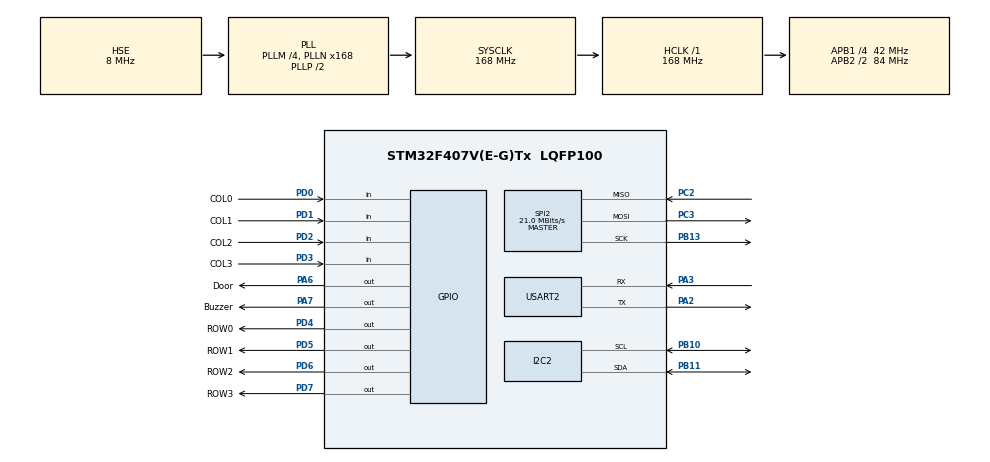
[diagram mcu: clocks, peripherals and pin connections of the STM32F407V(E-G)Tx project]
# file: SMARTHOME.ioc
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Mcu.Family=STM32F4
Mcu.Name=STM32F407V(E-G)Tx
Mcu.Package=LQFP100
NVIC.PriorityGroup=NVIC_PRIORITYGROUP_4
PA13.Mode=Serial_Wire
PA13.Signal=SYS_JTMS-SWDIO
PA14.Mode=Serial_Wire
PA14.Signal=SYS_JTCK-SWCLK
PA2.Mode=Asynchronous
PA2.Signal=USART2_TX
PA3.Mode=Asynchronous
PA3.Signal=USART2_RX
PA6.GPIO_Label=Door
PA6.GPIO_Speed=GPIO_SPEED_FREQ_VERY_HIGH
PA6.PinState=GPIO_PIN_SET
PA6.Signal=GPIO_Output
PA7.GPIO_Label=Buzzer
PA7.GPIO_Speed=GPIO_SPEED_FREQ_VERY_HIGH
PA7.PinState=GPIO_PIN_SET
PA7.Signal=GPIO_Output
PB10.Mode=I2C
PB10.Signal=I2C2_SCL
PB11.Mode=I2C
PB11.Signal=I2C2_SDA
PB13.Mode=Full_Duplex_Master
PB13.Signal=SPI2_SCK
PC2.Mode=Full_Duplex_Master
PC2.Signal=SPI2_MISO
PC3.Mode=Full_Duplex_Master
PC3.Signal=SPI2_MOSI
PD0.GPIO_Label=COL0
PD0.GPIO_PuPd=GPIO_PULLUP
PD0.Signal=GPIO_Input
PD1.GPIO_Label=COL1
PD1.GPIO_PuPd=GPIO_PULLUP
PD1.Signal=GPIO_Input
PD2.GPIO_Label=COL2
PD2.GPIO_PuPd=GPIO_PULLUP
PD2.Signal=GPIO_Input
PD3.GPIO_Label=COL3
PD3.GPIO_PuPd=GPIO_PULLUP
PD3.Signal=GPIO_Input
PD4.GPIO_Label=ROW0
PD4.PinState=GPIO_PIN_SET
PD4.Signal=GPIO_Output
PD5.GPIO_Label=ROW1
PD5.PinState=GPIO_PIN_SET
PD5.Signal=GPIO_Output
PD6.GPIO_Label=ROW2
PD6.PinState=GPIO_PIN_SET
PD6.Signal=GPIO_Output
PD7.GPIO_Label=ROW3
PD7.PinState=GPIO_PIN_SET
PD7.Signal=GPIO_Output
PH0-OSC_IN.Mode=HSE-External-Oscillator
PH0-OSC_IN.Signal=RCC_OSC_IN
PH1-OSC_OUT.Mode=HSE-External-Oscillator
PH1-OSC_OUT.Signal=RCC_OSC_OUT
ProjectManager.HeapSize=0x200
ProjectManager.StackSize=0x400
ProjectManager.TargetToolchain=MDK-ARM V5
RCC.48MHZClocksFreq_Value=84000000
RCC.AHBFreq_Value=168000000
RCC.APB1CLKDivider=RCC_HCLK_DIV4
RCC.APB1Freq_Value=42000000
RCC.APB1TimFreq_Value=84000000
RCC.APB2CLKDivider=RCC_HCLK_DIV2
RCC.APB2Freq_Value=84000000
RCC.APB2TimFreq_Value=168000000
RCC.CortexFreq_Value=168000000
RCC.HCLKFreq_Value=168000000
RCC.HSE_VALUE=8000000
RCC.HSI_VALUE=16000000
RCC.LSE_VALUE=32768
RCC.PLLM=4
RCC.PLLN=168
RCC.PLLSourceVirtual=RCC_PLLSOURCE_HSE
RCC.SYSCLKFreq_VALUE=168000000
RCC.SYSCLKSource=RCC_SYSCLKSOURCE_PLLCLK
RCC.VCOOutputFreq_Value=336000000
SPI2.CalculateBaudRate=21.0 MBits/s
SPI2.Direction=SPI_DIRECTION_2LINES
SPI2.Mode=SPI_MODE_MASTER
SPI2.VirtualType=VM_MASTER
USART2.VirtualMode=VM_ASYNC
board=custom

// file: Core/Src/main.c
/* USER CODE BEGIN Header */
/**
  ******************************************************************************
  * @file           : main.c
  * @brief          : Main program body
  ******************************************************************************
  * @attention
  *
  * Copyright (c) 2023 STMicroelectronics.
  * All rights reserved.
  *
  * This software is licensed under terms that can be found in the LICENSE file
  * in the root directory of this software component.
  * If no LICENSE file comes with this software, it is provided AS-IS.
  *
  ******************************************************************************
  */
/* USER CODE END Header */
#include "main.h"
#include "i2c.h"
#include "spi.h"
#include "usart.h"
#include "gpio.h"

/* USER CODE BEGIN Includes */
#include "i2c-lcd.h"
#include "stdio.h"
/* USER CODE END Includes */

/* USER CODE BEGIN PTD */
typedef struct
{
	char password[6];
	char passUser[3][6];
	enum User {
		USER_0,
		USER_1,
		USER_2,
		USER_NULL,
	} user;
	enum Mode {
		Mode_None = 0,
		Mode_Keypad = 1,
		Mode_NFC,
		Mode_Fingerprint,
		Mode_Sel,
		Mode_AddUser,
		Mode_ClearUser,
		Mode_Delete,
	} mode;
	enum Status {
		SMARTHOME_NG,
		SMARTHOME_OK,
	} status;
}SMARTHOME;

/* USER CODE END PTD */

/* USER CODE BEGIN PV */
char buffer[20];
// su dung uart debug
int fputc(int ch, FILE * f) {
  HAL_UART_Transmit( & huart2, (uint8_t * ) & ch, 1, HAL_MAX_DELAY);
  return ch;
}

SMARTHOME smarthome;

/* USER CODE END PV */

void SystemClock_Config(void);

/* USER CODE BEGIN 0 */

#define SLAVE_ADDRESS_EEPROM 0x50 // change this according to ur setup

void write_eeprom (int address ,int value)
{
	uint8_t data_t[4];

	data_t[0] = address;
	data_t[1] = value;
	HAL_I2C_Master_Transmit (&hi2c2, SLAVE_ADDRESS_EEPROM << 1,(uint8_t *) data_t, 2, HAL_MAX_DELAY);
	HAL_Delay(10); // tWR Write Cycle Time 5 ms
	printf("write_eeprom at 0x%X \r\n",address);
}

uint8_t read_eeprom(uint16_t register_pointer)
{
	HAL_StatusTypeDef status = HAL_OK;
	uint8_t return_value = 0;

	status = HAL_I2C_Mem_Read(&hi2c2, SLAVE_ADDRESS_EEPROM << 1, (uint16_t)register_pointer, I2C_MEMADD_SIZE_8BIT, &return_value, 1, 100);

	/* Check the communication status */
	if(status != HAL_OK)
	{

	}
	printf("Read EEPROM at [%d] : %d \r\n",register_pointer, return_value);
	return return_value;
}

int matrix_col, matrix_row;  //debug printf LCD
GPIO_TypeDef* row_port[4] = {ROW0_GPIO_Port, ROW1_GPIO_Port, ROW2_GPIO_Port, ROW3_GPIO_Port};
GPIO_TypeDef* col_port[4] = {COL0_GPIO_Port, COL1_GPIO_Port, COL2_GPIO_Port, COL3_GPIO_Port};

char row_pin[4] = {ROW0_Pin, ROW1_Pin, ROW2_Pin, ROW3_Pin};
char col_pin[4] = {COL0_Pin, COL1_Pin, COL2_Pin, COL3_Pin};
char key;
char scan_key()
{
	char keys[4][4] =
	{
		{'1', '2', '3', 'A'},
		{'4', '5', '6', 'B'},
		{'7', '8', '9', 'C'},
		{'*', '0', '#', 'D'},
	};
	for (int row = 0; row < 4; row ++) //quet hang
	{
		HAL_GPIO_WritePin(row_port[row], row_pin[row], GPIO_PIN_RESET);
		for (int col = 0; col < 4; col ++) //quet cot
		{
			if (!HAL_GPIO_ReadPin(col_port[col],col_pin[col]))
			{
					HAL_Delay(20);
					while(!HAL_GPIO_ReadPin(col_port[col],col_pin[col])){} // cho tha phim
					HAL_GPIO_WritePin(row_port[row], row_pin[row], GPIO_PIN_SET);
//					matrix_row = row;  //debug printf LCD
//					matrix_col = col;  //debug printf LCD
					return keys[row][col];
			}
		}
		HAL_GPIO_WritePin(row_port[row], row_pin[row], GPIO_PIN_SET);
	}
	return 0x20; // return ve khoang trang
}

SMARTHOME check_pass(int * sll_pass)
{
	smarthome.status = SMARTHOME_OK;
	smarthome.user = USER_NULL;

	// check user 0
	for(int j = 0; j < *sll_pass; j++)
	{
		smarthome.status = SMARTHOME_OK;
		smarthome.passUser[0][j] = read_eeprom(j);
		printf("smarthome.password[%d] vs smarthome.passUser[0][%d] > %d : %d \r\n", j,j,smarthome.password[j],smarthome.passUser[0][j]);
		if (smarthome.password[j]!=smarthome.passUser[0][j])
		{
			printf("User 0: NG \r\n");
			smarthome.status = SMARTHOME_NG;
			break;
		}
	}

	if (smarthome.status == SMARTHOME_OK)
	{
		lcd_put_cur(1,0);
		lcd_send_string("User 0: OK       ");
		printf("User 0: OK        \r\n");
		smarthome.user = USER_0;
		return smarthome;
	}
	// end check user 0

	// check user 1
	for(int j = 0; j < *sll_pass; j++)
	{
		smarthome.status = SMARTHOME_OK;
		smarthome.passUser[1][j] = read_eeprom(j+6);
		printf("smarthome.password[%d] vs smarthome.passUser[1][%d] > %d : %d \r\n", j,j,smarthome.password[j],smarthome.passUser[1][j]);
		if (smarthome.password[j]!=smarthome.passUser[1][j])
		{
			printf("Usser 1: NG \r\n");
			smarthome.status = SMARTHOME_NG;
			break;
		}
	}

	if (smarthome.status == SMARTHOME_OK)
	{
		lcd_put_cur(1,0);
		lcd_send_string("User 1: OK       ");
		printf("User 1: OK        \r\n");
		smarthome.user = USER_1;
		return smarthome;
	}
	// end check user 1

	// check user 2
	for(int j = 0; j < *sll_pass; j++)
	{
		smarthome.status = SMARTHOME_OK;
		smarthome.passUser[2][j] = read_eeprom(j+6+6);
		printf("smarthome.password[%d] vs smarthome.passUser[2][%d] > %d : %d \r\n", j,j,smarthome.password[j],smarthome.passUser[2][j]);
		if (smarthome.password[j]!=smarthome.passUser[2][j])
		{
			printf("Usser 2: NG \r\n");
			smarthome.status = SMARTHOME_NG;
			break;
		}
	}

	if (smarthome.status == SMARTHOME_OK)
	{
		lcd_put_cur(1,0);
		lcd_send_string("User 2: OK       ");
		printf("User 2: OK        \r\n");
		smarthome.user = USER_2;
		return smarthome;
	}
	// end check user 2
	return smarthome;
}

void write_eeprom_user(int user)
{

	int sll_pass = 0;
	printf("User %d duoc chon \r\n", user);
	while(smarthome.mode == Mode_AddUser)
	{
			lcd_put_cur(0,0);
			lcd_send_string("Add MK User");
			lcd_send_data(user+48);
			lcd_put_cur(2,0);
			lcd_send_string("Key #: Done");
			lcd_put_cur(3,0);
			lcd_send_string("Key *: Exit");
			lcd_send_cmd (0x0F); //Display on/off control --> D = 1, C and B = 1. (Cursor and blink, last two bits)
			lcd_put_cur(1, sll_pass);

			key = scan_key();

			if ((47 < key) && (key < 58)) //phim so 48 -> 0, 57 -> 9
			{
				if (sll_pass < 6 ) // mode 6 so
				{
					printf("KeyNumber: %s \r\n", &key);
					smarthome.password[sll_pass] = key;

					lcd_send_data(key);
					sll_pass++;
				}
			}
			else if (key == '*') //exit
			{
				printf("Exit setup mat khau User %d \r\n", user);
				smarthome.mode = Mode_None;
			}

			if ((sll_pass > 3) && (key == '#')) //setup done
			{
				printf("Mat khau co %d ky tu \r\n", sll_pass);
				for(int i = 0; i < sll_pass ; i++)
				{
					if (user == 0)
					{
						write_eeprom(i, smarthome.password[i]);
						printf("Mat khau: %d - %d \r\n", i, read_eeprom(i));
					}
					else	if (user == 1)
					{
						write_eeprom(i+6, smarthome.password[i]);
						printf("Mat khau: %d - %d \r\n", i, read_eeprom(i+6));
					}
					else	if (user == 2)
					{
						write_eeprom(i+6+6, smarthome.password[i]);
						printf("Mat khau: %d - %d \r\n", i, read_eeprom(i+6+6));
					}
				}
				printf("Done setup mat khau User %d \r\n", user);
				smarthome.mode = Mode_None;
			}
			HAL_Delay(100);
	}
}

int display_keypad(void)
{
		int sll_pass = 0;

		while(smarthome.mode == Mode_Keypad)
		{
				lcd_put_cur(0,0);
				lcd_send_string("Nhap mat khau -> #");

				lcd_send_cmd (0x0F); //Display on/off control --> D = 1, C and B = 1. (Cursor and blink, last two bits)
				lcd_put_cur(1, sll_pass);

				key = scan_key();

				if ((47 < key) && (key < 58)) //phim so 48 -> 0, 57 -> 9
				{
					if (sll_pass < 6 ) // mode 6 so
					{
						printf("KeyNumber: %s \r\n", &key);
						smarthome.password[sll_pass] = key;
						lcd_send_data(key);
						sll_pass++;
					}
				}
				if ((sll_pass > 3) && (key == '#'))
				{
					printf("Kiem tra mat khau \r\n");

					if (check_pass(&sll_pass).status)
					{
						smarthome.status = SMARTHOME_OK;
						smarthome.mode = Mode_None;
						HAL_Delay(1000);
						lcd_clear();
						HAL_Delay(500);
						return smarthome.status;
					}
					else
					{
						printf("PASS User: NG        \r\n");
						sll_pass = 0;
						lcd_put_cur(1,0);
						lcd_send_string("PASS User: NG       ");
						HAL_Delay(1000);
						lcd_put_cur(1,0);
						lcd_send_string("                 ");
						HAL_Delay(500);
						smarthome.status = SMARTHOME_NG;
					}
				}
				HAL_Delay(100);
		}
		return smarthome.status;
}

void reset_eeprom()
{
	for(int i = 0 ; i < 20; i++)
	{
		write_eeprom(i,0+48);
		read_eeprom(i);
	}
}
/* USER CODE END 0 */

int main(void)
{

  /* MCU Configuration--------------------------------------------------------*/

  /* Reset of all peripherals, Initializes the Flash interface and the Systick. */
  HAL_Init();

  /* Configure the system clock */
  SystemClock_Config();

  /* Initialize all configured peripherals */
  MX_GPIO_Init();
  MX_USART2_UART_Init();
  MX_SPI2_Init();
  MX_I2C2_Init();
  /* USER CODE BEGIN 2 */
	lcd_init();
	//reset_eeprom();

  /* USER CODE END 2 */

  /* Infinite loop */
  while (1)
  {

    /* USER CODE BEGIN 3 */
		key = scan_key();

		if ((47 < key) && (key < 58)) //phim so 48 -> 0, 57 -> 9
		{
			printf("KeyNumber: %s \r\n", &key);

		}
		else if (key != 0x20)// cac phim chuc nang (loai tru 0x20 vi 0x20 la return khi k bam phim)
		{
			printf("KeyFunction: %s \r\n", &key);

			if (key == 'A')
			{
				lcd_clear();
				smarthome.mode = Mode_Keypad;
				printf("smarthome.mode: Mode_Keypad \r\n");
			}
			else if (key == 'B')
			{
				lcd_clear();
				smarthome.mode = Mode_NFC;
				printf("smarthome.mode: Mode_NFC \r\n");
			}
			else if (key == 'C')
			{
				lcd_clear();
				smarthome.mode = Mode_Fingerprint;
				printf("smarthome.mode: Mode_Fingerprint \r\n");
			}
			else if (key == 'D')
			{
				lcd_clear();
				smarthome.mode = Mode_Delete;
				printf("smarthome.mode: Mode_Delete \r\n");
			}

		}

		if (smarthome.mode == Mode_None)
		{
			lcd_put_cur(0,0);
			lcd_send_string("A: Mode_Keypad");
			lcd_put_cur(1,0);
			lcd_send_string("B: Mode_NFC");
			lcd_put_cur(2,0);
			lcd_send_string("C: Mode_Fingerprint");
			lcd_put_cur(3,0);
			lcd_send_string("D: Mode_Delete");

			// lock door
			HAL_GPIO_WritePin(Door_GPIO_Port, Door_Pin, GPIO_PIN_SET); // lock
		}
		else if (smarthome.mode == Mode_Keypad)
		{
			printf("Status mo cua: %d \r\n",display_keypad());
			if (display_keypad() == SMARTHOME_OK)
			{
				HAL_GPIO_WritePin(Door_GPIO_Port, Door_Pin, GPIO_PIN_RESET); // open
				lcd_put_cur(0,0);
				lcd_send_string("Mode_Keypad:");
				lcd_put_cur(1,0);
				lcd_send_string("Open Door 5 Sec");
				HAL_Delay(5000);
				lcd_clear();
				smarthome.mode = Mode_AddUser;

				write_eeprom_user(smarthome.user);
			}
		}
		else if (smarthome.mode == Mode_NFC)
		{

		}
		else if (smarthome.mode == Mode_Fingerprint)
		{

		}
		else if (smarthome.mode == Mode_Delete)
		{
			lcd_init();
			smarthome.mode = Mode_None;
			HAL_Delay(500);
		}
  }
  /* USER CODE END 3 */
}

void SystemClock_Config(void)
{
  RCC_OscInitTypeDef RCC_OscInitStruct = {0};
  RCC_ClkInitTypeDef RCC_ClkInitStruct = {0};

  /** Configure the main internal regulator output voltage
  */
  __HAL_RCC_PWR_CLK_ENABLE();
  __HAL_PWR_VOLTAGESCALING_CONFIG(PWR_REGULATOR_VOLTAGE_SCALE1);

  /** Initializes the RCC Oscillators according to the specified parameters
  * in the RCC_OscInitTypeDef structure.
  */
  RCC_OscInitStruct.OscillatorType = RCC_OSCILLATORTYPE_HSE;
  RCC_OscInitStruct.HSEState = RCC_HSE_ON;
  RCC_OscInitStruct.PLL.PLLState = RCC_PLL_ON;
  RCC_OscInitStruct.PLL.PLLSource = RCC_PLLSOURCE_HSE;
  RCC_OscInitStruct.PLL.PLLM = 4;
  RCC_OscInitStruct.PLL.PLLN = 168;
  RCC_OscInitStruct.PLL.PLLP = RCC_PLLP_DIV2;
  RCC_OscInitStruct.PLL.PLLQ = 4;
  if (HAL_RCC_OscConfig(&RCC_OscInitStruct) != HAL_OK)
  {
    Error_Handler();
  }

  /** Initializes the CPU, AHB and APB buses clocks
  */
  RCC_ClkInitStruct.ClockType = RCC_CLOCKTYPE_HCLK|RCC_CLOCKTYPE_SYSCLK
                              |RCC_CLOCKTYPE_PCLK1|RCC_CLOCKTYPE_PCLK2;
  RCC_ClkInitStruct.SYSCLKSource = RCC_SYSCLKSOURCE_PLLCLK;
  RCC_ClkInitStruct.AHBCLKDivider = RCC_SYSCLK_DIV1;
  RCC_ClkInitStruct.APB1CLKDivider = RCC_HCLK_DIV4;
  RCC_ClkInitStruct.APB2CLKDivider = RCC_HCLK_DIV2;

  if (HAL_RCC_ClockConfig(&RCC_ClkInitStruct, FLASH_LATENCY_5) != HAL_OK)
  {
    Error_Handler();
  }
}

void Error_Handler(void)
{
  __disable_irq();
  while (1)
  {
  }
}
